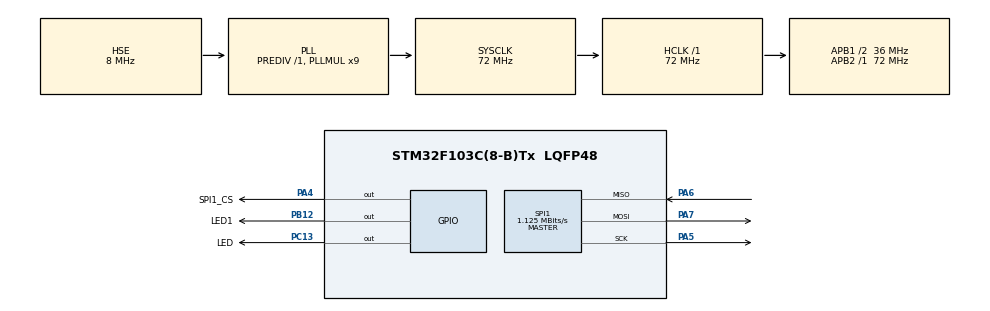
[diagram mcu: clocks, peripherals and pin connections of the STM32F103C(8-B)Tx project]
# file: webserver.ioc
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Mcu.Family=STM32F1
Mcu.Name=STM32F103C(8-B)Tx
Mcu.Package=LQFP48
NVIC.PriorityGroup=NVIC_PRIORITYGROUP_4
PA13.Mode=Serial_Wire
PA13.Signal=SYS_JTMS-SWDIO
PA14.Mode=Serial_Wire
PA14.Signal=SYS_JTCK-SWCLK
PA4.GPIO_Label=SPI1_CS
PA4.Signal=GPIO_Output
PA5.Mode=Full_Duplex_Master
PA5.Signal=SPI1_SCK
PA6.Mode=Full_Duplex_Master
PA6.Signal=SPI1_MISO
PA7.Mode=Full_Duplex_Master
PA7.Signal=SPI1_MOSI
PB12.GPIO_Label=LED1
PB12.PinState=GPIO_PIN_SET
PB12.Signal=GPIO_Output
PC13-TAMPER-RTC.GPIO_Label=LED
PC13-TAMPER-RTC.Signal=GPIO_Output
PD0-OSC_IN.Mode=HSE-External-Oscillator
PD0-OSC_IN.Signal=RCC_OSC_IN
PD1-OSC_OUT.Mode=HSE-External-Oscillator
PD1-OSC_OUT.Signal=RCC_OSC_OUT
ProjectManager.HeapSize=0x200
ProjectManager.StackSize=0x400
ProjectManager.TargetToolchain=STM32CubeIDE
RCC.AHBFreq_Value=72000000
RCC.APB1CLKDivider=RCC_HCLK_DIV2
RCC.APB1Freq_Value=36000000
RCC.APB1TimFreq_Value=72000000
RCC.APB2Freq_Value=72000000
RCC.APB2TimFreq_Value=72000000
RCC.HCLKFreq_Value=72000000
RCC.PLLMUL=RCC_PLL_MUL9
RCC.PLLSourceVirtual=RCC_PLLSOURCE_HSE
RCC.SYSCLKFreq_VALUE=72000000
RCC.SYSCLKSource=RCC_SYSCLKSOURCE_PLLCLK
RCC.USBFreq_Value=72000000
SPI1.BaudRatePrescaler=SPI_BAUDRATEPRESCALER_64
SPI1.CalculateBaudRate=1.125 MBits/s
SPI1.Direction=SPI_DIRECTION_2LINES
SPI1.Mode=SPI_MODE_MASTER
SPI1.VirtualType=VM_MASTER
board=custom

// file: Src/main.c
/* USER CODE BEGIN Header */
/**
  ******************************************************************************
  * @file           : main.c
  * @brief          : Main program body
  ******************************************************************************
  * @attention
  *
  * <h2><center>&copy; Copyright (c) 2020 STMicroelectronics.
  * All rights reserved.</center></h2>
  *
  * This software component is licensed by ST under BSD 3-Clause license,
  * the "License"; You may not use this file except in compliance with the
  * License. You may obtain a copy of the License at:
  *                        opensource.org/licenses/BSD-3-Clause
  *
  ******************************************************************************
  */
/* USER CODE END Header */

#include "main.h"

/* USER CODE BEGIN Includes */
#include "memory.h"
/* USER CODE END Includes */

/* USER CODE BEGIN PTD */
/*
 * Programa para trabalhar com o ENC28J60 utilizando o STM32F103C8 com a placa BluePill
 * Data: 18/02/2020
 * Adaptação: Eng. Fabrício de Lima Ribeiro
 */
/* USER CODE END PTD */

/* USER CODE BEGIN PD */

//Verificando o id do dispositivo para formar o endereço mac: id-> id[0], id[1], id[2]
//#define ID1 (*(unsigned long *)0x1FFFF7E8)
//#define ID2 (*(unsigned long *)0x1FFFF7EC)
//#define ID3 (*(unsigned long *)0x1FFFF7F0)
//ou
//unsigned long *id = (unsigned long *)0x1FFFF7E8;
//ou
#define mac1 (*(uint8_t *)0x1FFFF7EC)
#define mac2 (*(uint8_t *)0x1FFFF7ED)
#define mac3 (*(uint8_t *)0x1FFFF7EE)

#define MYWWWPORT 80
#define BUFFER_SIZE 550
/* USER CODE END PD */

SPI_HandleTypeDef hspi1;

/* USER CODE BEGIN PV */

//static uint8_t mymac[6] = { 0x54, 0x55, 0x58, 0x10, 0x00, 0x25 };
static uint8_t mymac[6] = { 0xFA, 0x07, 0x03, 0x00, 0x00, 0x00 };

/*static uint8_t myip[4] = {
 192,168,0,15};*/

static uint8_t buf[BUFFER_SIZE + 1];

uint16_t plen, dat_p;

/* For DHCP */
static uint8_t myip[4] = { 0, 0, 0, 0 };
static uint8_t mynetmask[4] = { 0, 0, 0, 0 };

// IP address of the host being queried to contact (IP of the first portion of the URL):
static uint8_t websrvip[4] = { 0, 0, 0, 0 };

// Default gateway. The ip address of your DSL router. It can be set to the same as
// websrvip the case where there is no default GW to access the
// web server (=web server is on the same lan as this host)
static uint8_t gwip[4] = { 192, 168, 0, 1 };
static uint8_t dnsip[4] = { 0, 0, 0, 0 };
static uint8_t dhcpsvrip[4] = { 0, 0, 0, 0 };

//Reservando área da flah interna
MemoryMap map;
static const uint32_t memoryMapSize = sizeof(map) / sizeof(uint32_t);

/* USER CODE END PV */

void SystemClock_Config(void);
static void MX_GPIO_Init(void);
static void MX_SPI1_Init(void);
/* USER CODE BEGIN PFP */

/* Private function prototypes */
uint16_t http200ok(void);
uint16_t print_webpage(uint8_t *buf);
uint16_t print_webpage2(uint8_t *buf);

/* USER CODE END PFP */

int main(void)
{

  /* MCU Configuration--------------------------------------------------------*/

  /* Reset of all peripherals, Initializes the Flash interface and the Systick. */
  HAL_Init();

  /* Configure the system clock */
  SystemClock_Config();

  /* Initialize all configured peripherals */
  MX_GPIO_Init();
  MX_SPI1_Init();
  /* USER CODE BEGIN 2 */

  // Initialise SPI interface
  ES_enc28j60SpiInit(&hspi1);

  // initialize enc28j60
  mymac[3] = mac1;
  mymac[4] = mac2;
  mymac[5] = mac3;
  ES_enc28j60Init(mymac);

  // init the ethernet/ip layer:
  //ES_init_ip_arp_udp_tcp(mymac,myip, MYWWWPORT);

  if(ES_enc28j60Revision() <= 0)
  {
	// Failed to access ENC28J60
	while (1)
		;    // Just loop here
  }

  // Get IP Address details
  if (allocateIPAddress(buf, BUFFER_SIZE, mymac, 80, myip, mynetmask, gwip, dhcpsvrip, dnsip) > 0)
  {
		// Display the results:
  }
  else
  {
	// Failed to get IP address"
	while (1)
		;
  }

  /* USER CODE END 2 */

  /* Infinite loop */
  while (1)
  {

    /* USER CODE BEGIN 3 */
		// read packet, handle ping and wait for a tcp packet:
		dat_p = ES_packetloop_icmp_tcp(buf, ES_enc28j60PacketReceive(BUFFER_SIZE, buf));

		/* dat_p will be unequal to zero if there is a valid
		 * http get */
		if (dat_p == 0)
		{
			// no http request
			continue;
			goto SENDTCP;
		}

		// tcp port 80 begin
		if (strncmp("GET ", (char *) &(buf[dat_p]), 4) != 0)
		{
			// head, post and other methods:
			dat_p = http200ok();
			dat_p = ES_fill_tcp_data(buf, dat_p, "<h1>200 OK</h1>");
			goto SENDTCP;
		}

		// Página principal
		if (strncmp("/ ", (char *) &(buf[dat_p + 4]), 2) == 0)
		{
			dat_p = print_webpage(buf);
		}
		else if (strncmp("/test ", (char *) &(buf[dat_p + 4]), 2) == 0)
		{
			dat_p = print_webpage2(buf);
		}
		else if (strncmp("/led_on ", (char *) &(buf[dat_p + 4]), 7) == 0)
		{
			HAL_GPIO_WritePin(LED1_GPIO_Port, LED1_Pin, GPIO_PIN_RESET);
			dat_p = print_webpage(buf);
		}
		else if (strncmp("/led_off ", (char *) &(buf[dat_p + 4]), 8) == 0)
		{
			HAL_GPIO_WritePin(LED1_GPIO_Port, LED1_Pin, GPIO_PIN_SET);
			dat_p = print_webpage(buf);
		}
		else
		{
			dat_p = ES_fill_tcp_data(buf, 0, "HTTP/1.0 401 Unauthorized\r\nContent-Type: text/html\r\n\r\n<h1>401 Unauthorized</h1>");
		}
		SENDTCP: ES_www_server_reply(buf, dat_p); // send web page data
		// tcp port 80 end
  }
  /* USER CODE END 3 */
}

void SystemClock_Config(void)
{
  RCC_OscInitTypeDef RCC_OscInitStruct = {0};
  RCC_ClkInitTypeDef RCC_ClkInitStruct = {0};

  /** Initializes the CPU, AHB and APB busses clocks
  */
  RCC_OscInitStruct.OscillatorType = RCC_OSCILLATORTYPE_HSE;
  RCC_OscInitStruct.HSEState = RCC_HSE_ON;
  RCC_OscInitStruct.HSEPredivValue = RCC_HSE_PREDIV_DIV1;
  RCC_OscInitStruct.HSIState = RCC_HSI_ON;
  RCC_OscInitStruct.PLL.PLLState = RCC_PLL_ON;
  RCC_OscInitStruct.PLL.PLLSource = RCC_PLLSOURCE_HSE;
  RCC_OscInitStruct.PLL.PLLMUL = RCC_PLL_MUL9;
  if (HAL_RCC_OscConfig(&RCC_OscInitStruct) != HAL_OK)
  {
    Error_Handler();
  }
  /** Initializes the CPU, AHB and APB busses clocks
  */
  RCC_ClkInitStruct.ClockType = RCC_CLOCKTYPE_HCLK|RCC_CLOCKTYPE_SYSCLK
                              |RCC_CLOCKTYPE_PCLK1|RCC_CLOCKTYPE_PCLK2;
  RCC_ClkInitStruct.SYSCLKSource = RCC_SYSCLKSOURCE_PLLCLK;
  RCC_ClkInitStruct.AHBCLKDivider = RCC_SYSCLK_DIV1;
  RCC_ClkInitStruct.APB1CLKDivider = RCC_HCLK_DIV2;
  RCC_ClkInitStruct.APB2CLKDivider = RCC_HCLK_DIV1;

  if (HAL_RCC_ClockConfig(&RCC_ClkInitStruct, FLASH_LATENCY_2) != HAL_OK)
  {
    Error_Handler();
  }
}

static void MX_SPI1_Init(void)
{

  /* SPI1 parameter configuration*/
  hspi1.Instance = SPI1;
  hspi1.Init.Mode = SPI_MODE_MASTER;
  hspi1.Init.Direction = SPI_DIRECTION_2LINES;
  hspi1.Init.DataSize = SPI_DATASIZE_8BIT;
  hspi1.Init.CLKPolarity = SPI_POLARITY_LOW;
  hspi1.Init.CLKPhase = SPI_PHASE_1EDGE;
  hspi1.Init.NSS = SPI_NSS_SOFT;
  hspi1.Init.BaudRatePrescaler = SPI_BAUDRATEPRESCALER_64;
  hspi1.Init.FirstBit = SPI_FIRSTBIT_MSB;
  hspi1.Init.TIMode = SPI_TIMODE_DISABLE;
  hspi1.Init.CRCCalculation = SPI_CRCCALCULATION_DISABLE;
  hspi1.Init.CRCPolynomial = 10;
  if (HAL_SPI_Init(&hspi1) != HAL_OK)
  {
    Error_Handler();
  }

}

static void MX_GPIO_Init(void)
{
  GPIO_InitTypeDef GPIO_InitStruct = {0};

  /* GPIO Ports Clock Enable */
  __HAL_RCC_GPIOC_CLK_ENABLE();
  __HAL_RCC_GPIOD_CLK_ENABLE();
  __HAL_RCC_GPIOA_CLK_ENABLE();
  __HAL_RCC_GPIOB_CLK_ENABLE();

  /*Configure GPIO pin Output Level */
  HAL_GPIO_WritePin(LED_GPIO_Port, LED_Pin, GPIO_PIN_RESET);

  /*Configure GPIO pin Output Level */
  HAL_GPIO_WritePin(SPI1_CS_GPIO_Port, SPI1_CS_Pin, GPIO_PIN_RESET);

  /*Configure GPIO pin Output Level */
  HAL_GPIO_WritePin(LED1_GPIO_Port, LED1_Pin, GPIO_PIN_SET);

  /*Configure GPIO pin : LED_Pin */
  GPIO_InitStruct.Pin = LED_Pin;
  GPIO_InitStruct.Mode = GPIO_MODE_OUTPUT_PP;
  GPIO_InitStruct.Pull = GPIO_NOPULL;
  GPIO_InitStruct.Speed = GPIO_SPEED_FREQ_LOW;
  HAL_GPIO_Init(LED_GPIO_Port, &GPIO_InitStruct);

  /*Configure GPIO pin : SPI1_CS_Pin */
  GPIO_InitStruct.Pin = SPI1_CS_Pin;
  GPIO_InitStruct.Mode = GPIO_MODE_OUTPUT_PP;
  GPIO_InitStruct.Pull = GPIO_NOPULL;
  GPIO_InitStruct.Speed = GPIO_SPEED_FREQ_LOW;
  HAL_GPIO_Init(SPI1_CS_GPIO_Port, &GPIO_InitStruct);

  /*Configure GPIO pin : LED1_Pin */
  GPIO_InitStruct.Pin = LED1_Pin;
  GPIO_InitStruct.Mode = GPIO_MODE_OUTPUT_PP;
  GPIO_InitStruct.Pull = GPIO_NOPULL;
  GPIO_InitStruct.Speed = GPIO_SPEED_FREQ_LOW;
  HAL_GPIO_Init(LED1_GPIO_Port, &GPIO_InitStruct);

}

/* USER CODE BEGIN 4 */
uint16_t http200ok(void)
{
	return (ES_fill_tcp_data(buf, 0, "HTTP/1.0 200 OK\r\nContent-Type: text/html\r\nPragma: no-cache\r\n\r\n"));
}

// prepare the webpage by writing the data to the tcp send buffer
uint16_t print_webpage(uint8_t *buf)
{
	//Obs: Tomar cuidado para não ultrapassar o máximo do buffer que é 550
	uint16_t plen;

	plen = http200ok();
	plen = ES_fill_tcp_data(buf, plen, "<html><head><title>STM32F1 ENC28J60 Ethernet Demo</title></head><body>");
	plen = ES_fill_tcp_data(buf, plen, "<center><h2>Welcome to STM32F1 ENC28J60 Ethernet Demo</h2>");
	plen = ES_fill_tcp_data(buf, plen, "<br> <a href='/test '>Segunda pagina</a> <br>");

	int a=45;
	char writeValue[30];

	//sprintf(writeValue,"O valor da variavel a= %d",a);
	//plen = ES_fill_tcp_data(buf, plen, writeValue);
	//plen = ES_fill_tcp_data(buf, plen, "<br> ");

	//sprintf(writeValue,"O valor do ID do chip = %X %X %X",mac1, mac2, mac3);
	//plen = ES_fill_tcp_data(buf, plen, writeValue);
	//plen = ES_fill_tcp_data(buf, plen, "<br> ");

	plen = ES_fill_tcp_data(buf, plen, "<br> <a href='/led_on'><button>Ligar led</button></a>");
	plen = ES_fill_tcp_data(buf, plen, "<br> <a href='/led_off'><button>Desligar led</button></a>");

	//Manipulando a flash interna

	/*Read map from flash*/
	MemMap_ReadAllEntriesFromFlash(&map, memoryMapSize);

	sprintf(writeValue,"<br>O valor da variavel data0= %ld",map.data0);
	plen = ES_fill_tcp_data(buf, plen, writeValue);
	sprintf(writeValue,"<br>O valor da variavel data1= %ld",map.data1);
	plen = ES_fill_tcp_data(buf, plen, writeValue);
	sprintf(writeValue,"<br>O valor da variavel data2= %ld",map.data2);
	plen = ES_fill_tcp_data(buf, plen, writeValue);

	map.data0++;
	map.data1++;
	map.data2++;

	/*Store map to flash*/
	MemMap_WriteAllEntriesToFlash(&map, memoryMapSize);

	plen = ES_fill_tcp_data(buf, plen, "<br></font></h2>");
	plen = ES_fill_tcp_data(buf, plen, "</center><hr>");
	plen = ES_fill_tcp_data(buf, plen, "</body></html>");

	return (plen);
}

// prepare the webpage by writing the data to the tcp send buffer
uint16_t print_webpage2(uint8_t *buf)
{
	uint16_t plen;

	plen = http200ok();
	plen = ES_fill_tcp_data(buf, plen, "<html><head><title>Test page</title></head><body>");
	plen = ES_fill_tcp_data(buf, plen, "<center><h1>Second page</h1>");
	plen = ES_fill_tcp_data(buf, plen, "<br>Hello World");
	plen = ES_fill_tcp_data(buf, plen, "<br> <a href='/'>Inicio</a>");
	plen = ES_fill_tcp_data(buf, plen, "<br></font></h2>");
	plen = ES_fill_tcp_data(buf, plen, "</center><hr>");
	plen = ES_fill_tcp_data(buf, plen, "</body></html>");

	return (plen);
}

void ES_PingCallback(void)
{
	//STM_EVAL_LEDToggle(LED4);
}
/* USER CODE END 4 */

void Error_Handler(void)
{
}

/************************ (C) COPYRIGHT STMicroelectronics *****END OF FILE****/
